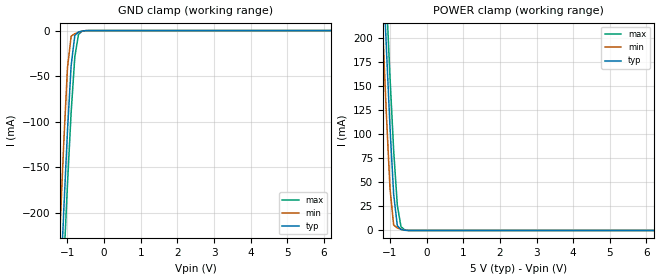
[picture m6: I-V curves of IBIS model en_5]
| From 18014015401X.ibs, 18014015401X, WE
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[Model]   en_5
Model_type   Input
Vinl = 1.5
Vinh = 3.5
|   typ   min   max
|   (nom PVT)   (fast PVT)   (slow PVT)
C_comp   3.303e-15   3.281e-15   1.164e-13
[Model spec]
|subparameter
Vinl   1.5   1.35   1.65
Vinh   3.5   3.15   3.85
| Where nom  PVT is Nominal Process, 5V, 27C
|   Fast PVT is Strong Process,  5.5V, -55C
|   Slow PVT is Weak Process,   4.5V, 150C
[Voltage Range]   5   4.5   5.5
|Ambient Temperature   25   125   -55
|Junction Temperature
[Temperature Range]   27   150   -55
[Power Clamp Reference]   5   4.5   5.5
[GND Clamp Reference]   0   0   0
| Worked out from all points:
|   GND clamp passes 1 mA (typ) near -0.65 V on its own axis
|   POWER clamp passes 1 mA (typ) near -0.70 V on its own axis
[GND Clamp]
-5V       -4.169A    -4.163A    -4.167A
-1.3V     -384.9mA   -311.3mA   -441.9mA
-1.2V     -289.3mA   -214.6mA   -347.9mA
-1.1V     -196.8mA   -121.8mA   -256.3mA
-1V       -110.3mA   -40.91mA   -168.9mA
-900mV    -38.4mA    -6.152mA   -89.52mA
-800mV    -5.474mA   -3.481mA   -29.01mA
-700mV    -1.531mA   -1.907mA   -4.308mA
-600mV    -532.3uA   -643.3uA   -627.8uA
-400mV    -5.865uA   -2.085uA   -8.245uA
10V       0A         0A         0A
[POWER Clamp]
-5V       4.002A     3.964A     4.027A
-1.2V     280.2mA    210.3mA    332.3mA
-1.1V     191.2mA    122mA      243.9mA
-1V       107.6mA    43.85mA    159.6mA
-900mV    37.75mA    5.657mA    83.35mA
-800mV    4.914mA    2.69mA     26.25mA
-700mV    1.001mA    1.317mA    3.987mA
-600mV    240.4uA    331.4uA    538.7uA
-400mV    965.3nA    161.1nA    3.632uA
10V       0A         0A         0A
